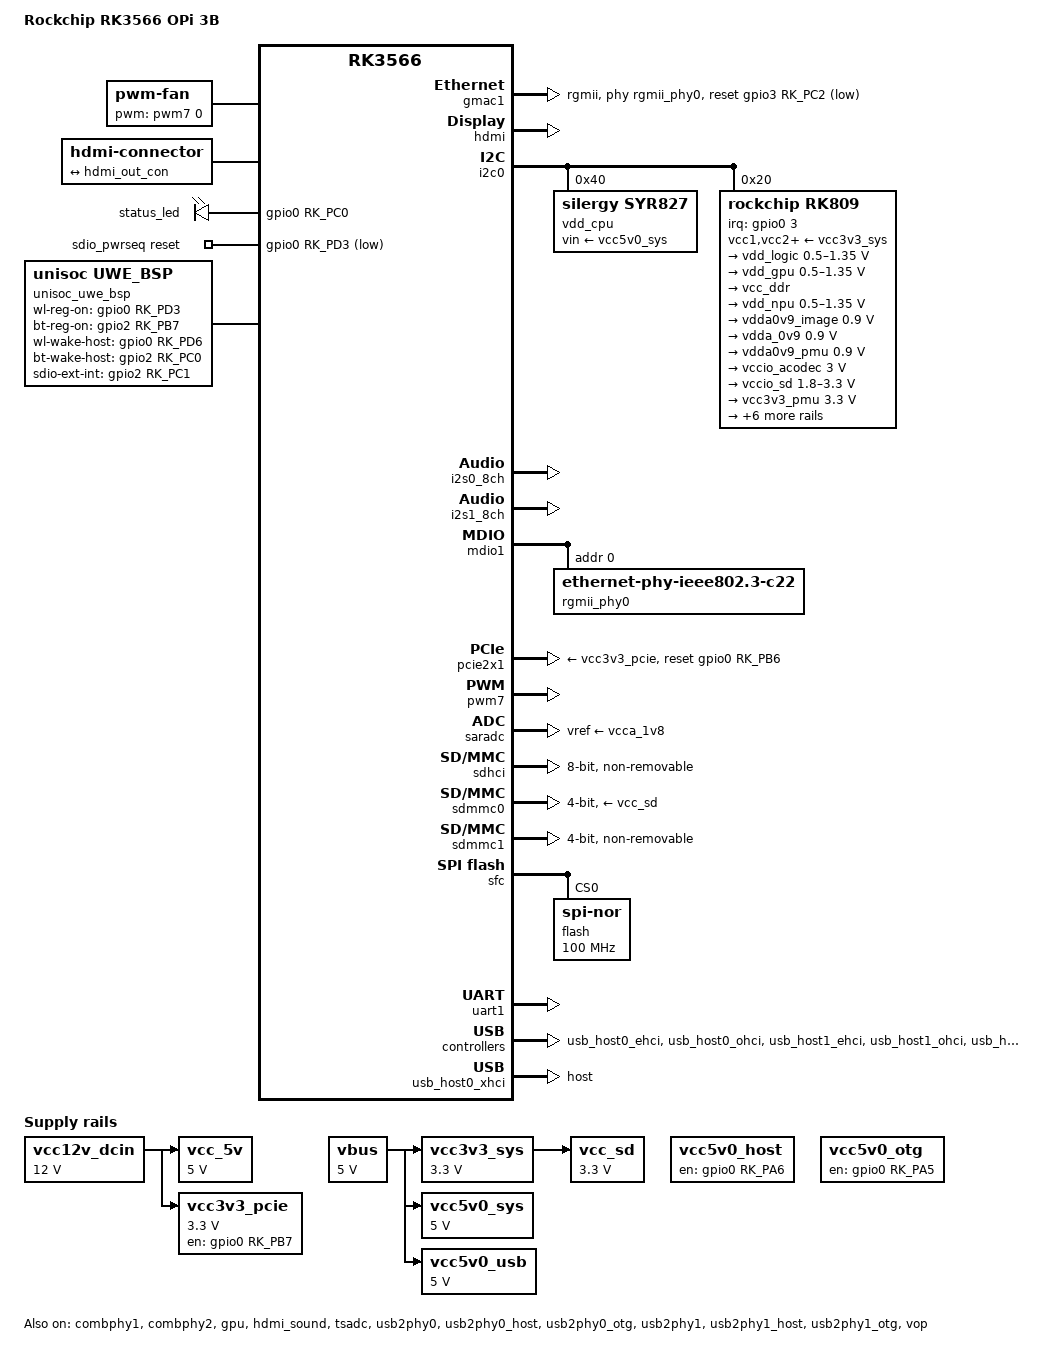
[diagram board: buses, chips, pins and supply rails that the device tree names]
// SPDX-License-Identifier: (GPL-2.0+ OR MIT)
/*
 * Copyright (c) 2020 Rockchip Electronics Co., Ltd.
 *
 */
/dts-v1/;

#include <dt-bindings/gpio/gpio.h>
#include <dt-bindings/pwm/pwm.h>
#include <dt-bindings/pinctrl/rockchip.h>
#include <dt-bindings/soc/rockchip,vop2.h>
#include "rk3566.dtsi"

/ {
	model = "Rockchip RK3566 OPi 3B";
	compatible = "rockchip,rk3566-orangepi-3b", "rockchip,rk3566";

	aliases {
		ethernet0 = &gmac1;
		mmc0 = &sdhci;
		mmc1 = &sdmmc0;
	};

	chosen: chosen {
		stdout-path = "serial2:1500000n8";
	};

	fan: pwm-fan {
		compatible = "pwm-fan";
		#cooling-cells = <2>;
		pwms = <&pwm7 0 50000 0>;
		cooling-levels = <0 50 100 150 200 255>;
		rockchip,temp-trips = <
			50000   1
			55000   2
			60000   3
			65000   4
			70000   5
		>;
	};

	hdmi-con {
		compatible = "hdmi-connector";
		type = "a";

		port {
			hdmi_con_in: endpoint {
				remote-endpoint = <&hdmi_out_con>;
			};
		};
	};

	leds: leds {
		compatible = "gpio-leds";
		pinctrl-names = "default";
		pinctrl-0 =<&leds_gpio>;

		led@1 {
			gpios = <&gpio0 RK_PC0 GPIO_ACTIVE_HIGH>;
			label = "status_led";
			linux,default-trigger = "heartbeat";
		};
	};

	rk809-sound {
		compatible = "simple-audio-card";
		simple-audio-card,format = "i2s";
		simple-audio-card,name = "Analog RK809";
		simple-audio-card,mclk-fs = <256>;

		simple-audio-card,cpu {
			sound-dai = <&i2s1_8ch>;
		};

		simple-audio-card,codec {
			sound-dai = <&rk809>;
		};
	};

	sdio_pwrseq: sdio-pwrseq {
		compatible = "mmc-pwrseq-simple";
		clocks = <&rk809 1>;
		clock-names = "ext_clock";
		pinctrl-names = "default";
		pinctrl-0 = <&wifi_enable_h>;

		/*
		 * On the module itself this is one of these (depending
		 * on the actual card populated):
		 * - SDIO_RESET_L_WL_REG_ON
		 * - PDN (power down when low)
		 */
		post-power-on-delay-ms = <200>;
		reset-gpios = <&gpio0 RK_PD3 GPIO_ACTIVE_LOW>;
	};

	unisoc_uwe_bsp: uwe-bsp {
		compatible = "unisoc,uwe_bsp";
		wl-reg-on = <&gpio0 RK_PD3 GPIO_ACTIVE_HIGH>;
		bt-reg-on = <&gpio2 RK_PB7 GPIO_ACTIVE_HIGH>;
		wl-wake-host-gpio = <&gpio0 RK_PD6 GPIO_ACTIVE_HIGH>;
		bt-wake-host-gpio = <&gpio2 RK_PC0 GPIO_ACTIVE_HIGH>;
		sdio-ext-int-gpio = <&gpio2 RK_PC1 GPIO_ACTIVE_HIGH>;
		unisoc,btwf-file-name = "/lib/firmware/wcnmodem.bin";
		data-irq;
		blksz-512;
		keep-power-on;
	};

	/* labeled +12v in schematic */
	vcc12v_dcin: vcc12v-dcin-regulator {
		compatible = "regulator-fixed";
		regulator-name = "vcc12v_dcin";
		regulator-always-on;
		regulator-boot-on;
		regulator-min-microvolt = <12000000>;
		regulator-max-microvolt = <12000000>;
	};

	/* labeled +5v in schematic */
	vcc_5v: vcc-5v-regulator {
		compatible = "regulator-fixed";
		regulator-name = "vcc_5v";
		regulator-always-on;
		regulator-boot-on;
		regulator-min-microvolt = <5000000>;
		regulator-max-microvolt = <5000000>;
		vin-supply = <&vcc12v_dcin>;
	};

	vbus: vbus {
		compatible = "regulator-fixed";
		regulator-name = "vbus";
		regulator-always-on;
		regulator-boot-on;
		regulator-min-microvolt = <5000000>;
		regulator-max-microvolt = <5000000>;
	};

	/* labeled +3.3v For PCIe only in schematic */
	vcc3v3_pcie: vcc3v3-pcie-regulator {
		compatible = "regulator-fixed";
		regulator-name = "vcc3v3_pcie";
		regulator-always-on;
		regulator-boot-on;
		enable-active-high;
		gpio = <&gpio0 RK_PB7 GPIO_ACTIVE_HIGH>;
		pinctrl-names = "default";
		pinctrl-0 = <&pcie_drv>;
		regulator-min-microvolt = <3300000>;
		regulator-max-microvolt = <3300000>;
		vin-supply = <&vcc12v_dcin>;
	};
		
	vcc3v3_sys: vcc3v3-sys {
		compatible = "regulator-fixed";
		regulator-name = "vcc3v3_sys";
		regulator-always-on;
		regulator-boot-on;
		regulator-min-microvolt = <3300000>;
		regulator-max-microvolt = <3300000>;
		vin-supply = <&vbus>;
	};

	vcc5v0_sys: vcc5v0-sys {
		compatible = "regulator-fixed";
		regulator-name = "vcc5v0_sys";
		regulator-always-on;
		regulator-boot-on;
		regulator-min-microvolt = <5000000>;
		regulator-max-microvolt = <5000000>;
		vin-supply = <&vbus>;
	};

	vcc5v0_usb: vcc5v0-usb {
		compatible = "regulator-fixed";
		regulator-name = "vcc5v0_usb";
		regulator-always-on;
		regulator-boot-on;
		regulator-min-microvolt = <5000000>;
		regulator-max-microvolt = <5000000>;
		vin-supply = <&vbus>;
	};

	vcc_sd: vcc-sd {
		compatible = "regulator-fixed";
		regulator-max-microvolt = <3300000>;
		regulator-min-microvolt = <3300000>;
		regulator-name = "vcc_sd";
		vin-supply = <&vcc3v3_sys>;
	};

	vcc5v0_host: vcc5v0-host-regulator {
		compatible = "regulator-fixed";
		enable-active-high;
		gpio = <&gpio0 RK_PA6 GPIO_ACTIVE_HIGH>;
		pinctrl-names = "default";
		pinctrl-0 = <&vcc5v0_host_en>;
		regulator-name = "vcc5v0_host";
		regulator-always-on;
	};

	vcc5v0_otg: vcc5v0-otg-regulator {
		compatible = "regulator-fixed";
		enable-active-high;
		gpio = <&gpio0 RK_PA5 GPIO_ACTIVE_HIGH>;
		pinctrl-names = "default";
		pinctrl-0 = <&vcc5v0_otg_en>;
		regulator-name = "vcc5v0_otg";
		regulator-always-on;
	};
};

&combphy1 {
	status = "okay";
};

&combphy2 {
	status = "okay";
};

&cpu0 {
	cpu-supply = <&vdd_cpu>;
};

&cpu1 {
	cpu-supply = <&vdd_cpu>;
};

&cpu2 {
	cpu-supply = <&vdd_cpu>;
};

&cpu3 {
	cpu-supply = <&vdd_cpu>;
};

&gmac1 {
	assigned-clocks = <&cru SCLK_GMAC1_RX_TX>, <&cru SCLK_GMAC1>;
	assigned-clock-parents = <&cru SCLK_GMAC1_RGMII_SPEED>, <&cru CLK_MAC1_2TOP>;
	assigned-clock-rates = <0>, <125000000>;
	clock_in_out = "input";
	phy-mode = "rgmii";
	pinctrl-names = "default";
	pinctrl-0 = <&gmac1m0_miim
		     &gmac1m0_tx_bus2
		     &gmac1m0_rx_bus2
		     &gmac1m0_rgmii_clk
		     &gmac1m0_clkinout
		     &gmac1m0_rgmii_bus>;

	snps,reset-gpio = <&gpio3 RK_PC2 GPIO_ACTIVE_LOW>;
	snps,reset-active-low;
	/* Reset time is 20ms, 100ms for rtl8211f */
	//snps,reset-delays-us = <0 20000 100000>;
	snps,reset-delays-us = <0 50000 200000>;
	tx_delay = <0x30>;
	rx_delay = <0x10>;
	phy-handle = <&rgmii_phy0>;
	status = "okay";
};

&gpu {
	mali-supply = <&vdd_gpu>;
	status = "okay";
};

&hdmi {
	avdd-0v9-supply = <&vdda0v9_image>;
	avdd-1v8-supply = <&vcca1v8_image>;
	status = "okay";
};

&hdmi_in {
	hdmi_in_vp0: endpoint {
		remote-endpoint = <&vp0_out_hdmi>;
	};
};

&hdmi_out {
	hdmi_out_con: endpoint {
		remote-endpoint = <&hdmi_con_in>;
	};
};

&hdmi_sound {
	status = "okay";
};

&i2c0 {
	status = "okay";

	vdd_cpu: syr837@40 {
		compatible = "silergy,syr827";
		reg = <0x40>;
		vin-supply = <&vcc5v0_sys>;
		regulator-compatible = "fan53555-reg";
		regulator-name = "vdd_cpu";
		regulator-min-microvolt = <712500>;
		regulator-max-microvolt = <1390000>;
		regulator-init-microvolt = <900000>;
		regulator-initial-mode = <1>;
		regulator-ramp-delay = <2300>;
		fcs,suspend-voltage-selector = <1>;
		regulator-boot-on;
		regulator-always-on;
		regulator-state-mem {
			regulator-off-in-suspend;
		};
	};

	rk809: pmic@20 {
		compatible = "rockchip,rk809";
		reg = <0x20>;
		interrupt-parent = <&gpio0>;
		interrupts = <3 IRQ_TYPE_LEVEL_LOW>;

		assigned-clocks = <&cru I2S1_MCLKOUT_TX>;
		assigned-clock-parents = <&cru CLK_I2S1_8CH_TX>;
		#clock-cells = <1>;
		clock-names = "mclk";
		clocks = <&cru I2S1_MCLKOUT_TX>;
		pinctrl-names = "default", "pmic-sleep",
				"pmic-power-off", "pmic-reset";
		pinctrl-0 = <&pmic_int>, <&i2s1m0_mclk>;
		pinctrl-1 = <&soc_slppin_slp>, <&rk817_slppin_slp>;
		pinctrl-2 = <&soc_slppin_gpio>, <&rk817_slppin_pwrdn>;
		pinctrl-3 = <&soc_slppin_gpio>, <&rk817_slppin_rst>;
		#sound-dai-cells = <0>;

		rockchip,system-power-controller;
		wakeup-source;

		vcc1-supply = <&vcc3v3_sys>;
		vcc2-supply = <&vcc3v3_sys>;
		vcc3-supply = <&vcc3v3_sys>;
		vcc4-supply = <&vcc3v3_sys>;
		vcc5-supply = <&vcc3v3_sys>;
		vcc6-supply = <&vcc3v3_sys>;
		vcc7-supply = <&vcc3v3_sys>;
		vcc8-supply = <&vcc3v3_sys>;
		vcc9-supply = <&vcc3v3_sys>;

		pinctrl_rk8xx: pinctrl_rk8xx {
			gpio-controller;
			#gpio-cells = <2>;

			rk817_slppin_null: rk817_slppin_null {
				pins = "gpio_slp";
				function = "pin_fun0";
			};

			rk817_slppin_slp: rk817_slppin_slp {
				pins = "gpio_slp";
				function = "pin_fun1";
			};

			rk817_slppin_pwrdn: rk817_slppin_pwrdn {
				pins = "gpio_slp";
				function = "pin_fun2";
			};

			rk817_slppin_rst: rk817_slppin_rst {
				pins = "gpio_slp";
				function = "pin_fun3";
			};
		};

		regulators {
			vdd_logic: DCDC_REG1 {
				regulator-always-on;
				regulator-boot-on;
				regulator-min-microvolt = <500000>;
				regulator-max-microvolt = <1350000>;
				regulator-init-microvolt = <900000>;
				regulator-ramp-delay = <6001>;
				regulator-initial-mode = <0x2>;
				regulator-name = "vdd_logic";
				regulator-state-mem {
					regulator-off-in-suspend;
				};
			};

			vdd_gpu: DCDC_REG2 {
				regulator-always-on;
				regulator-boot-on;
				regulator-min-microvolt = <500000>;
				regulator-max-microvolt = <1350000>;
				regulator-init-microvolt = <900000>;
				regulator-ramp-delay = <6001>;
				regulator-initial-mode = <0x2>;
				regulator-name = "vdd_gpu";
				regulator-state-mem {
					regulator-off-in-suspend;
				};
			};

			vcc_ddr: DCDC_REG3 {
				regulator-always-on;
				regulator-boot-on;
				regulator-initial-mode = <0x2>;
				regulator-name = "vcc_ddr";
				regulator-state-mem {
					regulator-on-in-suspend;
				};
			};

			vdd_npu: DCDC_REG4 {
				regulator-always-on;
				regulator-boot-on;
				regulator-min-microvolt = <500000>;
				regulator-max-microvolt = <1350000>;
				regulator-init-microvolt = <900000>;
				regulator-ramp-delay = <6001>;
				regulator-initial-mode = <0x2>;
				regulator-name = "vdd_npu";
				regulator-state-mem {
					regulator-off-in-suspend;
				};
			};

			vdda0v9_image: LDO_REG1 {
				regulator-boot-on;
				regulator-always-on;
				regulator-min-microvolt = <900000>;
				regulator-max-microvolt = <900000>;
				regulator-name = "vdda0v9_image";
				regulator-state-mem {
					regulator-off-in-suspend;
				};
			};

			vdda_0v9: LDO_REG2 {
				regulator-always-on;
				regulator-boot-on;
				regulator-min-microvolt = <900000>;
				regulator-max-microvolt = <900000>;
				regulator-name = "vdda_0v9";
				regulator-state-mem {
					regulator-off-in-suspend;
				};
			};

			vdda0v9_pmu: LDO_REG3 {
				regulator-always-on;
				regulator-boot-on;
				regulator-min-microvolt = <900000>;
				regulator-max-microvolt = <900000>;
				regulator-name = "vdda0v9_pmu";
				regulator-state-mem {
					regulator-on-in-suspend;
					regulator-suspend-microvolt = <900000>;
				};
			};

			vccio_acodec: LDO_REG4 {
				regulator-always-on;
				regulator-boot-on;
				regulator-min-microvolt = <3000000>;
				regulator-max-microvolt = <3000000>;
				regulator-name = "vccio_acodec";
				regulator-state-mem {
					regulator-off-in-suspend;
				};
			};

			vccio_sd: LDO_REG5 {
				regulator-always-on;
				regulator-boot-on;
				regulator-min-microvolt = <1800000>;
				regulator-max-microvolt = <3300000>;
				regulator-name = "vccio_sd";
				regulator-state-mem {
					regulator-off-in-suspend;
				};
			};

			vcc3v3_pmu: LDO_REG6 {
				regulator-always-on;
				regulator-boot-on;
				regulator-min-microvolt = <3300000>;
				regulator-max-microvolt = <3300000>;
				regulator-name = "vcc3v3_pmu";
				regulator-state-mem {
					regulator-on-in-suspend;
					regulator-suspend-microvolt = <3300000>;
				};
			};

			vcca_1v8: LDO_REG7 {
				regulator-always-on;
				regulator-boot-on;
				regulator-min-microvolt = <1800000>;
				regulator-max-microvolt = <1800000>;
				regulator-name = "vcca_1v8";
				regulator-state-mem {
					regulator-off-in-suspend;
				};
			};

			vcca1v8_pmu: LDO_REG8 {
				regulator-always-on;
				regulator-boot-on;
				regulator-min-microvolt = <1800000>;
				regulator-max-microvolt = <1800000>;
				regulator-name = "vcca1v8_pmu";
				regulator-state-mem {
					regulator-on-in-suspend;
					regulator-suspend-microvolt = <1800000>;
				};
			};

			vcca1v8_image: LDO_REG9 {
				regulator-always-on;
				regulator-boot-on;
				regulator-min-microvolt = <1800000>;
				regulator-max-microvolt = <1800000>;
				regulator-name = "vcca1v8_image";
				regulator-state-mem {
					regulator-off-in-suspend;
				};
			};

			vcc_1v8: DCDC_REG5 {
				regulator-always-on;
				regulator-boot-on;
				regulator-min-microvolt = <1800000>;
				regulator-max-microvolt = <1800000>;
				regulator-name = "vcc_1v8";
				regulator-state-mem {
					regulator-off-in-suspend;
				};
			};

			vcc_3v3: SWITCH_REG1 {
				regulator-always-on;
				regulator-boot-on;
				regulator-name = "vcc_3v3";
				regulator-state-mem {
					regulator-off-in-suspend;
				};
			};

			vcc3v3_sd: SWITCH_REG2 {
				regulator-always-on;
				regulator-boot-on;
				regulator-name = "vcc3v3_sd";
				regulator-state-mem {
					regulator-off-in-suspend;
				};
			};
		};

		codec {
			mic-in-differential;
		};
	};
};

&i2s0_8ch {
	status = "okay";
};

&i2s1_8ch {
	pinctrl-names = "default";
	pinctrl-0 = <&i2s1m0_sclktx
		     &i2s1m0_lrcktx
		     &i2s1m0_sdi0
		     &i2s1m0_sdo0>;
	rockchip,trcm-sync-tx-only;
	status = "okay";
};

&mdio1 {
	rgmii_phy0: phy@0 {
		compatible = "ethernet-phy-ieee802.3-c22";
		reg = <0x0>;
	};
};

&pcie2x1 {
	reset-gpios = <&gpio0 RK_PB6 GPIO_ACTIVE_HIGH>;
	vpcie3v3-supply = <&vcc3v3_pcie>;
	status = "okay";
};

&pinctrl {
	wireless-bluetooth {
		uart1_gpios: uart1-gpios {
			rockchip,pins = <2 RK_PB5 RK_FUNC_GPIO &pcfg_pull_none>;
		};
	};

	sd {
		sdmmc0_pwr_h: sdmmc0-pwr-h {
			rockchip,pins =
			        <0 RK_PB0 RK_FUNC_GPIO &pcfg_pull_none>;
		};
	};

	mxc6655xa {
		mxc6655xa_irq_gpio: mxc6655xa_irq_gpio {
			rockchip,pins = <3 RK_PC1 RK_FUNC_GPIO &pcfg_pull_none>;
		};
	};

	pmic {
		pmic_int: pmic_int {
			rockchip,pins =
				<0 RK_PA3 RK_FUNC_GPIO &pcfg_pull_up>;
		};

		soc_slppin_gpio: soc_slppin_gpio {
			rockchip,pins =
				<0 RK_PA2 RK_FUNC_GPIO &pcfg_output_low>;
		};

		soc_slppin_slp: soc_slppin_slp {
			rockchip,pins =
				<0 RK_PA2 1 &pcfg_pull_none>;
		};

		soc_slppin_rst: soc_slppin_rst {
			rockchip,pins =
				<0 RK_PA2 2 &pcfg_pull_none>;
		};
	};

	touch {
		touch_gpio: touch-gpio {
			rockchip,pins =
				<0 RK_PB5 RK_FUNC_GPIO &pcfg_pull_up>,
				<0 RK_PB6 RK_FUNC_GPIO &pcfg_pull_none>;
		};
	};

	sdio-pwrseq {
		wifi_enable_h: wifi-enable-h {
			rockchip,pins = <0 RK_PD3 RK_FUNC_GPIO &pcfg_pull_none>;
		};
	};

	usb {
		vcc5v0_host_en: vcc5v0-host-en {
			rockchip,pins = <0 RK_PA6 RK_FUNC_GPIO &pcfg_pull_none>;
		};

		vcc5v0_otg_en: vcc5v0-otg-en {
			rockchip,pins = <0 RK_PA5 RK_FUNC_GPIO &pcfg_pull_none>;
		};
	};

	wireless-bluetooth {
		uart8_gpios: uart8-gpios {
			rockchip,pins = <2 RK_PB1 RK_FUNC_GPIO &pcfg_pull_none>;
		};
	};

	work-led {
		leds_gpio: leds-gpio {
			rockchip,pins = <0 RK_PC0 RK_FUNC_GPIO &pcfg_pull_none>;
		};
	};

	headphone {
		hp_det: hp-det {
			rockchip,pins = <0 RK_PC4 RK_FUNC_GPIO &pcfg_pull_down>;
		};
	};

	pcie {
		pcie_drv: pcie-drv {
			rockchip,pins =
				<0 RK_PB7 RK_FUNC_GPIO &pcfg_pull_none>;
		};
	};

	edp {
	        edp_hpd: edp-hpd {
	                rockchip,pins = <0 RK_PA0 RK_FUNC_GPIO &pcfg_pull_none>;
	        };

	        bl_en: bl-en {
	                rockchip,pins = <0 RK_PB5 RK_FUNC_GPIO &pcfg_output_high>;
	        };
	};
};

 /*
  * There are 10 independent IO domains in RK3566/RK3568, including PMUIO[0:2] and VCCIO[1:7].
  * 1/ PMUIO0 and PMUIO1 are fixed-level power domains which cannot be configured;
  * 2/ PMUIO2 and VCCIO1,VCCIO[3:7] domains require that their hardware power supply voltages
  *    must be consistent with the software configuration correspondingly
  *	a/ When the hardware IO level is connected to 1.8V, the software voltage configuration
  *	   should also be configured to 1.8V accordingly;
  *	b/ When the hardware IO level is connected to 3.3V, the software voltage configuration
  *	   should also be configured to 3.3V accordingly;
  * 3/ VCCIO2 voltage control selection (0xFDC20140)
  *	BIT[0]: 0x0: from GPIO_0A7 (default)
  *	BIT[0]: 0x1: from GRF
  *    Default is determined by Pin FLASH_VOL_SEL/GPIO0_A7:
  *	L:VCCIO2 must supply 3.3V
  *	H:VCCIO2 must supply 1.8V
  */

&pmu_io_domains {
        status = "okay";
        pmuio1-supply = <&vcc3v3_pmu>;
        pmuio2-supply = <&vcc3v3_pmu>;
        vccio1-supply = <&vcc_3v3>;
	vccio2-supply = <&vcc_1v8>;
        vccio3-supply = <&vccio_sd>;
        vccio4-supply = <&vcc_1v8>;
        vccio5-supply = <&vcc_3v3>;
        vccio6-supply = <&vcc_3v3>;
        vccio7-supply = <&vcc_3v3>;
};

&pwm7 {
	status = "okay";
};

&saradc {
	status = "okay";
	vref-supply = <&vcca_1v8>;
};

&sdhci {
	bus-width = <8>;
	max-frequency = <200000000>;
	non-removable;
	pinctrl-names = "default";
	pinctrl-0 = <&emmc_bus8 &emmc_clk &emmc_cmd>;
	status = "okay";
};

&sdmmc0 {
	max-frequency = <150000000>;
	bus-width = <4>;
	cap-mmc-highspeed;
	cap-sd-highspeed;
	disable-wp;
	sd-uhs-sdr104;
	vmmc-supply = <&vcc_sd>;
	vqmmc-supply = <&vccio_sd>;
	pinctrl-names = "default";
	pinctrl-0 = <&sdmmc0_bus4 &sdmmc0_clk &sdmmc0_cmd &sdmmc0_det>;
	status = "okay";
};

&sdmmc1 {
	max-frequency = <150000000>;
	bus-width = <4>;
	disable-wp;
	cap-sd-highspeed;
	cap-sdio-irq;
	keep-power-in-suspend;
	mmc-pwrseq = <&sdio_pwrseq>;
	non-removable;
	pinctrl-names = "default";
	pinctrl-0 = <&sdmmc1_bus4 &sdmmc1_cmd &sdmmc1_clk>;
	sd-uhs-sdr104;
	status = "okay";
};

&sfc {
	#address-cells = <1>;
	#size-cells = <0>;
	status = "okay";
	flash@0 {
		compatible = "jedec,spi-nor";
		reg = <0>;
		spi-max-frequency = <100000000>;
		spi-rx-bus-width = <4>;
		spi-tx-bus-width = <1>;
	};
};

&tsadc {
	status = "okay";
};

&uart1 {
	status = "okay";
	pinctrl-names = "default";
	pinctrl-0 = <&uart1m0_xfer &uart1m0_ctsn>;
};

&usb2phy0 {
	status = "okay";
};

&usb2phy0_host {
	phy-supply = <&vbus>;	
	status = "okay";
};

&usb2phy0_otg {
	status = "okay";
};

&usb2phy1 {
	status = "okay";
};

&usb2phy1_host {
	status = "okay";
};

&usb2phy1_otg {
	status = "okay";
};

&usb_host0_ehci {
	status = "okay";
};

&usb_host0_ohci {
	status = "okay";
};

&usb_host0_xhci {
	dr_mode = "host";
	extcon = <&usb2phy0>;
	status = "okay";
};

&usb_host1_ehci {
	status = "okay";
};

&usb_host1_ohci {
	status = "okay";
};

&usb_host1_xhci {
	status = "okay";
};

&vop {
	assigned-clocks = <&cru DCLK_VOP0>, <&cru DCLK_VOP1>;
	assigned-clock-parents = <&pmucru PLL_HPLL>, <&cru PLL_VPLL>;
	status = "okay";
};

&vop_mmu {
	status = "okay";
};

&vp0 {
	vp0_out_hdmi: endpoint@ROCKCHIP_VOP2_EP_HDMI0 {
		reg = <ROCKCHIP_VOP2_EP_HDMI0>;
		remote-endpoint = <&hdmi_in_vp0>;
	};
};
